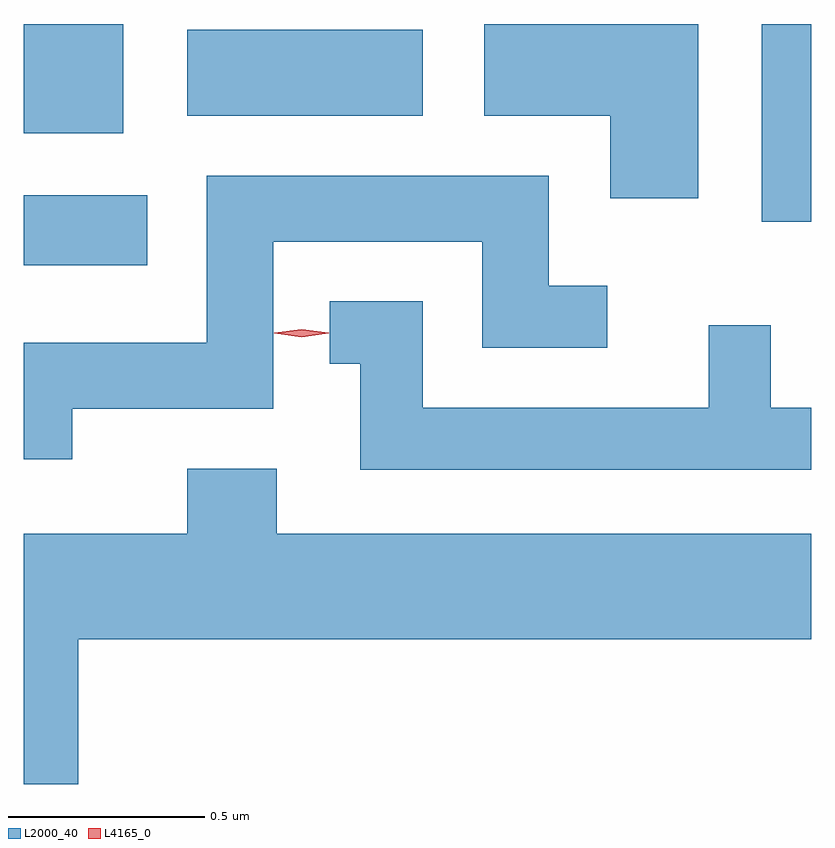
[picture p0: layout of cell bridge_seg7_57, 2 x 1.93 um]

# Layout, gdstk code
import gdstk
lib = gdstk.Library(unit=1e-6, precision=1e-09)
def R(c, l, rs):  # rectangles x0, y0, x1, y1
    for r in rs: c.add(gdstk.rectangle(r[:2], r[2:], *l))
def P(c, l, *ps):  # polygons
    for p in ps: c.add(gdstk.Polygon(p, *l))
L2000_40 = (2000, 40)
L4165_0 = (4165, 0)

bridge_seg7_57 = lib.new_cell('bridge_seg7_57')
R(bridge_seg7_57, L2000_40, [(1653.766,1759.666,1654.079,1759.844), (1655.641,1759.776,1655.766,1760.279), (1653.766,1760.001,1654.019,1760.279), (1654.181,1760.046,1654.779,1760.264)])
P(bridge_seg7_57, L2000_40, [(1655.479,1760.279),(1654.936,1760.279),(1654.936,1760.046),(1655.256,1760.046),(1655.256,1759.836),(1655.479,1759.836)],
  [(1653.889,1759.301),(1654.399,1759.301),(1654.399,1759.726),(1654.931,1759.726),(1654.931,1759.456),(1655.248,1759.456),(1655.248,1759.614),(1655.099,1759.614),(1655.099,1759.894),(1654.231,1759.894),(1654.231,1759.469),(1653.766,1759.469),(1653.766,1759.173),(1653.889,1759.173)],
  [(1655.766,1759.304),(1655.664,1759.304),(1655.664,1759.513),(1655.506,1759.513),(1655.506,1759.304),(1654.779,1759.304),(1654.779,1759.574),(1654.543,1759.574),(1654.543,1759.416),(1654.621,1759.416),(1654.621,1759.146),(1655.766,1759.146)],
  [(1653.904,1758.716),(1655.766,1758.716),(1655.766,1758.984),(1654.409,1758.984),(1654.409,1759.149),(1654.181,1759.149),(1654.181,1758.984),(1653.766,1758.984),(1653.766,1758.348),(1653.904,1758.348)])
P(bridge_seg7_57, L4165_0, [(1654.472,1759.483),(1654.402,1759.493),(1654.402,1759.493),(1654.402,1759.494),(1654.472,1759.503),(1654.541,1759.494),(1654.541,1759.493),(1654.541,1759.493)])

lib.write_gds('bridge_seg7_57.gds')
